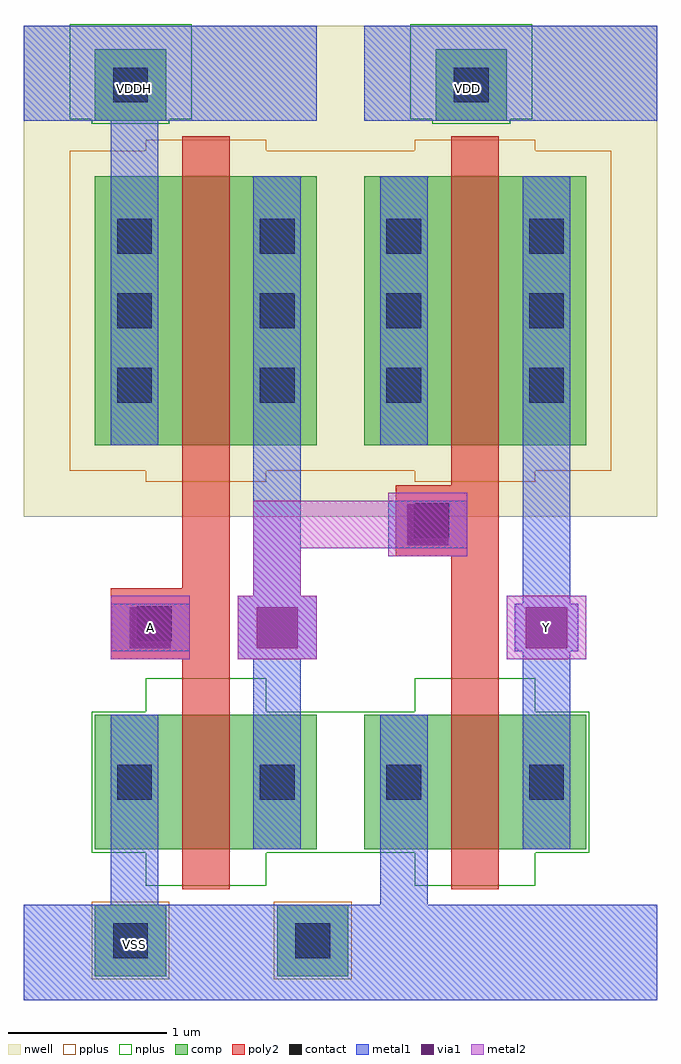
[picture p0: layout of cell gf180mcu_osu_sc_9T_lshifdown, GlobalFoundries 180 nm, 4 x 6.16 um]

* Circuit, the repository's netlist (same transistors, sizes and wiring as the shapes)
* Copyright 2022 Google LLC
*
* Licensed under the Apache License, Version 2.0 (the "License");
* you may not use this file except in compliance with the License.
* You may obtain a copy of the License at
*
*      http://www.apache.org/licenses/LICENSE-2.0
*
* Unless required by applicable law or agreed to in writing, software
* distributed under the License is distributed on an "AS IS" BASIS,
* WITHOUT WARRANTIES OR CONDITIONS OF ANY KIND, either express or implied.
* See the License for the specific language governing permissions and
* limitations under the License.

.option scale=0.05u

.subckt gf180mcu_osu_sc_9T_lshifdown A Y
X0 a_26_19 A VDD VDD pmos_3p3 w=34 l=6
X1 Y a_26_19 VSS VSS nmos_3p3 w=17 l=6
X2 Y a_26_19 a_43_70 VDD pmos_3p3 w=34 l=6
X3 a_26_19 A VSS VSS nmos_3p3 w=17 l=6
.ends

** hspice subcircuit dictionary

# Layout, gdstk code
import gdstk
lib = gdstk.Library(unit=1e-6, precision=1e-09)
def R(c, l, rs):  # rectangles x0, y0, x1, y1
    for r in rs: c.add(gdstk.rectangle(r[:2], r[2:], *l))
def A(c, l, x, y, w, h, nx, ny, dx, dy):  # array of equal rectangles
    R(c, l, [(x+i*dx, y+j*dy, x+i*dx+w, y+j*dy+h) for i in range(nx) for j in range(ny)])
nwell = (21, 0)
comp = (22, 0)
poly2 = (30, 0)
pplus = (31, 0)
nplus = (32, 0)
contact = (33, 0)
metal1 = (34, 0)
via1 = (35, 0)
metal2 = (36, 0)

gf180mcu_osu_sc_9t_lshif = lib.new_cell('gf180mcu_osu_sc_9T_lshifdown')
R(gf180mcu_osu_sc_9t_lshif, nwell, [(0,3.05,4,6.15)])
R(gf180mcu_osu_sc_9t_lshif, comp, [(0.45,0.15,0.9,0.6), (1.6,0.15,2.05,0.6), (0.45,0.95,1.85,1.8), (2.15,0.95,3.55,1.8), (0.45,3.5,1.85,5.2), (2.15,3.5,3.55,5.2), (0.45,5.55,0.9,6), (2.6,5.55,3.05,6)])
R(gf180mcu_osu_sc_9t_lshif, poly2, [(1,0.7,1.3,2.15), (2.7,0.7,3,2.8), (0.55,2.15,1.3,2.6), (1,2.6,1.3,5.45), (2.35,2.8,3,3.25), (2.7,3.25,3,5.45)])
R(gf180mcu_osu_sc_9t_lshif, pplus, [(0.43,0.13,0.92,0.62), (1.58,0.13,2.07,0.62), (0.77,3.27,1.53,3.34), (2.47,3.27,3.23,3.34), (0.29,3.34,3.71,5.36), (0.77,5.36,1.53,5.43), (2.47,5.36,3.23,5.43)])
R(gf180mcu_osu_sc_9t_lshif, nplus, [(0.77,0.72,1.53,0.93), (2.47,0.72,3.23,0.93), (0.43,0.93,3.57,1.82), (0.77,1.82,1.53,2.03), (2.47,1.82,3.23,2.03), (0.43,5.53,0.92,5.56), (2.58,5.53,3.07,5.56), (0.29,5.56,1.06,6.16), (2.44,5.56,3.21,6.16)])
A(gf180mcu_osu_sc_9t_lshif, contact, 0.59, 3.77, 0.22, 0.22, 1, 3, 0, 0.47)
A(gf180mcu_osu_sc_9t_lshif, contact, 1.49, 3.77, 0.22, 0.22, 1, 3, 0, 0.47)
A(gf180mcu_osu_sc_9t_lshif, contact, 2.29, 3.77, 0.22, 0.22, 1, 3, 0, 0.47)
A(gf180mcu_osu_sc_9t_lshif, contact, 3.19, 3.77, 0.22, 0.22, 1, 3, 0, 0.47)
R(gf180mcu_osu_sc_9t_lshif, contact, [(0.565,0.265,0.785,0.485), (1.715,0.265,1.935,0.485), (0.59,1.265,0.81,1.485), (1.49,1.265,1.71,1.485), (2.29,1.265,2.51,1.485), (3.19,1.265,3.41,1.485), (0.715,2.265,0.935,2.485), (2.465,2.915,2.685,3.135), (0.565,5.665,0.785,5.885), (2.715,5.665,2.935,5.885)])
R(gf180mcu_osu_sc_9t_lshif, metal1, [(0,0,4,0.6), (0.55,0.6,0.85,1.8), (2.25,0.6,2.55,1.8), (1.45,0.95,1.75,2.15), (3.15,0.95,3.45,2.2), (1.35,2.15,1.85,2.55), (0.55,2.2,1.05,2.5), (3.1,2.2,3.5,2.5), (3.15,2.5,3.45,5.2), (1.45,2.55,1.75,5.2), (2.3,2.85,2.8,3.15), (0.55,3.5,0.85,5.55), (2.25,3.5,2.55,5.2), (0,5.55,1.85,6.15), (2.15,5.55,4,6.15)])
R(gf180mcu_osu_sc_9t_lshif, via1, [(0.67,2.22,0.93,2.48), (1.47,2.22,1.73,2.48), (3.17,2.22,3.43,2.48), (2.42,2.87,2.68,3.13)])
R(gf180mcu_osu_sc_9t_lshif, metal2, [(0.55,2.15,1.05,2.55), (1.35,2.15,1.85,2.55), (3.05,2.15,3.55,2.55), (1.45,2.55,1.75,2.85), (2.3,2.8,2.8,2.85), (1.45,2.85,2.8,3.15), (2.3,3.15,2.8,3.2)])
gf180mcu_osu_sc_9t_lshif.add(gdstk.Label('VSS', (0.7,0.35), layer=34, texttype=0))
gf180mcu_osu_sc_9t_lshif.add(gdstk.Label('VDDH', (0.7,5.75), layer=34, texttype=0))
gf180mcu_osu_sc_9t_lshif.add(gdstk.Label('VDD', (2.8,5.75), layer=34, texttype=0))
gf180mcu_osu_sc_9t_lshif.add(gdstk.Label('A', (0.8,2.35), layer=36, texttype=10))
gf180mcu_osu_sc_9t_lshif.add(gdstk.Label('Y', (3.3,2.35), layer=36, texttype=10))

lib.write_gds('gf180mcu_osu_sc_9T_lshifdown.gds')
